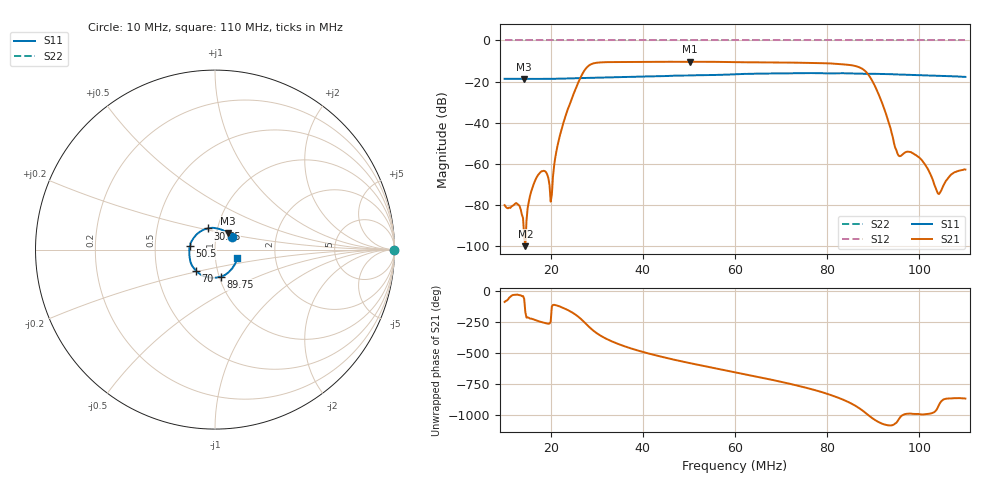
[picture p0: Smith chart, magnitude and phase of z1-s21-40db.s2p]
! Anritsu VNA Master:  Model: MS2034B/10/19/501
! SN:  1337062
! /bd0/ovro-jan-2016/d1-s21-40db.s2p
! Existing Calibration Information:
! TYPE:  Current Settings,  Active Cal Settings
! TIME:  01/08/2016 03:24:22 PM,  01/08/2016 03:05:41 PM
! INTERNAL TEMP:  41.5 C,  43.3 C
! # POINTS:  401,  401
! START FREQ:  10.000 MHz,  10.000 MHz
! STOP FREQ:  110.000 MHz,  110.000 MHz
! SOURCE POWER:  High,  High
! IFBW:  100 Hz,  100 Hz
! AVG FACTOR:  1 ,  1
! REF PLANE 1:  0 mm,  0 mm
! REF PLANE 2:  0 mm,  0 mm
! CAL TYPE:  1P2P S11,S21,  1P2P S11,S21
! CAL METHOD:  SOLT,  SOLT
! CAL LINE TYPE:  Coax,  Coax
! DUT PORT 1:  K-Conn(M),  K-Conn(M)
! DUT PORT 2:  N-Conn(M),  N-Conn(M)
! CAL STATUS:  OK: Accuracy High,  --
# GHZ S DB R 50.0
! FREQ.GHZ  S11DB  S11A  S21DB  S21A  S12DB  S12A  S22DB  S22A
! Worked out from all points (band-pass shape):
!   401 points, 10 MHz to 110 MHz, reference 50 ohm
!   highest |S21| = -10.37 dB at 50.25 MHz (marker M1); lowest = -100.1 dB at 14.5 MHz (marker M2)
!   |S21| within 3 dB of the highest: 27.75 MHz to 87.28 MHz (59.53 MHz wide, 104 % of centre)
!   lowest |S11| = -18.7 dB at 14.25 MHz (marker M3), VSWR 1.26, Z = 56.8 + j10.4 ohm
!   |S11| at or under -10 dB: start of sweep to end of sweep
!   |S22| runs from 0.0 to 0.0 dB; largest |S21 - S12| = 1.3
!   S11 on the Smith chart (normalised r, x): 10 MHz: 1.19, +0.17; 30.75 MHz: 0.90, +0.22; 50.5 MHz: 0.75, +0.03; 70 MHz: 0.79, -0.19; 89.75 MHz: 1.01, -0.31; 110 MHz: 1.27, -0.12
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0.01  -18.63 37.1  -80.13 -90.1  0.00 0.0  0.00 0.0
0.01425  -18.74 51.0  -95.20 -65.2  0.00 0.0  0.00 0.0
0.0145  -18.73 51.9  -100.09 -171.8  0.00 0.0  0.00 0.0
0.01775  -18.69 63.5  -64.15 111.1  0.00 0.0  0.00 0.0
0.02025  -18.64 72.2  -75.07 -126.5  0.00 0.0  0.00 0.0
0.02225  -18.59 79.4  -44.17 -130.8  0.00 0.0  0.00 0.0
0.02675  -18.29 95.4  -16.82 127.1  0.00 0.0  0.00 0.0
0.03075  -18.08 108.9  -10.68 1.1  0.00 0.0  0.00 0.0
0.036  -17.77 126.1  -10.50 -85.4  0.00 0.0  0.00 0.0
0.0435  -17.36 150.1  -10.40 -164.8  0.00 0.0  0.00 0.0
0.05025  -17.00 171.5  -10.37 138.9  0.00 0.0  0.00 0.0
0.0505  -16.98 172.3  -10.37 136.9  0.00 0.0  0.00 0.0
0.06  -16.46 -158.4  -10.54 65.2  0.00 0.0  0.00 0.0
0.07  -16.00 -131.6  -10.74 -10.9  0.00 0.0  0.00 0.0
0.07675  -15.88 -114.3  -10.96 -71.5  0.00 0.0  0.00 0.0
0.0845  -16.01 -93.8  -11.83 -171.4  0.00 0.0  0.00 0.0
0.08975  -16.22 -78.4  -19.49 58.5  0.00 0.0  0.00 0.0
0.0935  -16.39 -68.3  -41.01 -0.8  0.00 0.0  0.00 0.0
0.0955  -16.60 -62.6  -56.02 46.6  0.00 0.0  0.00 0.0
0.10025  -16.91 -49.5  -57.54 88.5  0.00 0.0  0.00 0.0
0.104  -17.18 -39.0  -74.32 142.7  0.00 0.0  0.00 0.0
0.11  -17.72 -21.3  -62.82 -145.3  0.00 0.0  0.00 0.0
